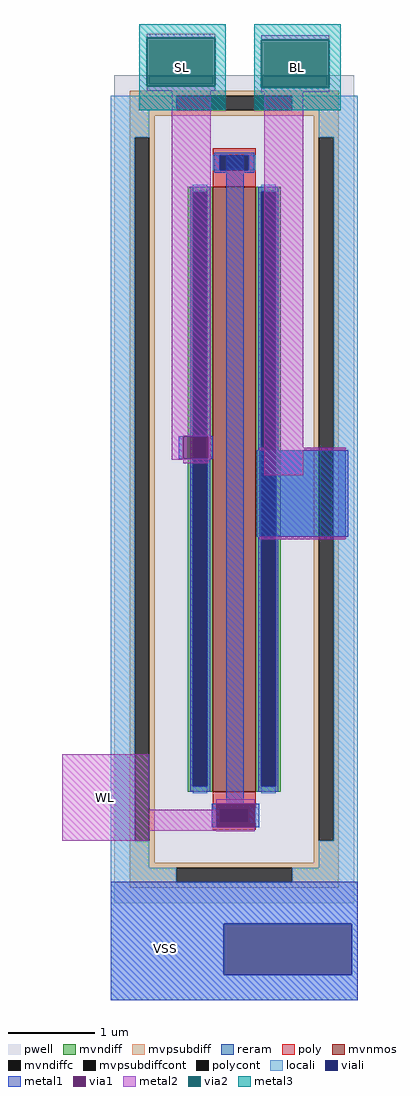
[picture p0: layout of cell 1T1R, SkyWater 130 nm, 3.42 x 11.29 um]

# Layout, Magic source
magic
tech sky130B
<< locali >>
rect 312 -28 340 882
rect 570 -28 598 882
rect 312 -76 598 -28
rect 312 -135 443 -76
rect 591 -135 598 -76
rect 312 -164 598 -135
<< viali >>
rect 443 -135 591 -76
<< metal1 >>
rect 391 462 396 488
rect 425 462 430 488
rect 446 63 466 814
rect 429 36 434 63
rect 479 36 484 63
rect 312 -76 598 -27
rect 312 -135 443 -76
rect 591 -135 598 -76
rect 312 -164 598 -135
<< via1 >>
rect 396 462 425 488
rect 434 36 479 63
<< metal2 >>
rect 354 949 433 954
rect 354 888 433 893
rect 486 947 565 952
rect 383 488 428 888
rect 486 886 565 891
rect 383 462 396 488
rect 425 462 428 488
rect 383 461 428 462
rect 396 457 425 461
rect 490 443 535 886
rect 256 56 356 120
rect 434 63 479 68
rect 256 36 434 56
rect 256 32 479 36
rect 256 20 356 32
rect 434 31 479 32
<< via2 >>
rect 354 893 433 949
rect 486 891 565 947
<< metal3 >>
rect 345 949 445 965
rect 345 893 354 949
rect 433 893 445 949
rect 345 865 445 893
rect 478 947 578 965
rect 478 891 486 947
rect 565 891 578 947
rect 478 865 578 891
use sky130_fd_pr__nfet_g5v0d10v5_9YEQ2B  XM1 ~/Project/magic/ReRAM
transform 1 0 455 0 1 427
box -139 -479 139 479
use sky130_fd_pr_reram__reram_cell  XR1
transform 1 0 484 0 1 572
box -3 -203 103 -97
<< labels >>
flabel metal1 326 -154 426 -54 0 FreeSans 128 0 0 0 VSS
port 1 nsew
flabel metal2 256 20 356 120 0 FreeSans 128 0 0 0 WL
port 2 nsew
flabel metal3 345 865 445 965 0 FreeSans 128 0 0 0 SL
port 0 nsew
flabel metal3 478 865 578 965 0 FreeSans 128 0 0 0 BL
port 3 nsew
<< end >>

# cell sky130_fd_pr__nfet_g5v0d10v5_9YEQ2B: kit device sky130_fd_pr__nfet_g5v0d10v5, w 7.0 l 0.5 m 1 nf 1 diffcov 100 polycov 100 guard 1 glc 1 grc 1 gtc 1 gbc 1 tbcov 100 rlcov 100 topc 1 botc 1 poverlap 0 doverlap 1 lmin 0.50 wmin 0.42 compatible {sky130_fd_pr__nfet_01v8 sky130_fd_pr__nfet_01v8_lvt sky130_fd_bs_flash__special_sonosfet_star sky130_fd_pr__nfet_g5v0d10v5 sky130_fd_pr__nfet_05v0_nvt sky130_fd_pr__nfet_03v3_nvt} full_metal 1 viasrc 100 viadrn 100 viagate 100 viagb 0 viagr 0 viagl 0 viagt 0

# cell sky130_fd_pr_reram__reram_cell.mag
magic
tech sky130B
<< metal1 >>
rect -3 -200 103 -100
<< reram >>
rect 0 -200 100 -100
<< metal2 >>
rect 0 -100 100 -97
rect 0 -203 100 -200
<< labels >>
flabel reram 0 -200 100 -100 0 FreeSans 128 0 0 0 TE
port 0 nsew
flabel metal1 0 -200 100 -100 0 FreeSans 128 0 0 0 BE
port 1 nsew
<< end >>
